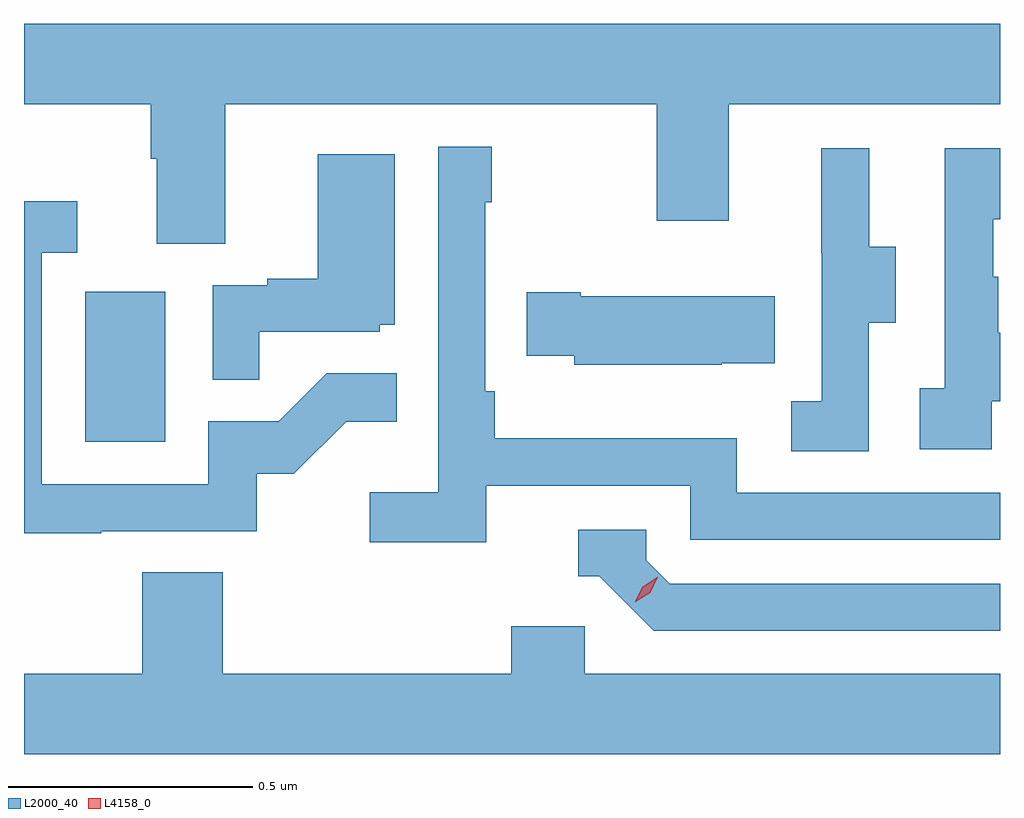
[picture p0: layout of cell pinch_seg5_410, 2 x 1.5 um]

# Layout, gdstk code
import gdstk
lib = gdstk.Library(unit=1e-6, precision=1e-09)
def R(c, l, rs):  # rectangles x0, y0, x1, y1
    for r in rs: c.add(gdstk.rectangle(r[:2], r[2:], *l))
def P(c, l, *ps):  # polygons
    for p in ps: c.add(gdstk.Polygon(p, *l))
L2000_40 = (2000, 40)
L4158_0 = (4158, 0)

pinch_seg5_410 = lib.new_cell('pinch_seg5_410')
R(pinch_seg5_410, L2000_40, [(964.076,866.724,964.24,867.031)])
P(pinch_seg5_410, L2000_40, [(964.363,867.416),(965.248,867.416),(965.248,867.177),(965.395,867.177),(965.395,867.416),(965.951,867.416),(965.951,867.58),(963.951,867.58),(963.951,867.416),(964.211,867.416),(964.211,867.304),(964.223,867.304),(964.223,867.13),(964.363,867.13)],
  [(964.898,866.634),(965.316,866.634),(965.316,866.523),(965.951,866.523),(965.951,866.619),(965.412,866.619),(965.412,866.731),(964.916,866.731),(964.916,866.827),(964.896,866.827),(964.896,867.215),(964.909,867.215),(964.909,867.328),(964.8,867.328),(964.8,866.62),(964.659,866.62),(964.659,866.518),(964.898,866.518)],
  [(965.682,866.968),(965.737,866.968),(965.737,867.123),(965.683,867.123),(965.683,867.325),(965.585,867.325),(965.585,867.111),(965.586,867.111),(965.586,866.807),(965.523,866.807),(965.523,866.704),(965.682,866.704)],
  [(965.934,866.807),(965.951,866.807),(965.951,866.947),(965.947,866.947),(965.947,867.062),(965.937,867.062),(965.937,867.18),(965.951,867.18),(965.951,867.325),(965.838,867.325),(965.838,866.834),(965.787,866.834),(965.787,866.709),(965.934,866.709)],
  [(964.433,866.949),(964.68,866.949),(964.68,866.964),(964.711,866.964),(964.711,867.313),(964.553,867.313),(964.553,867.058),(964.449,867.058),(964.449,867.045),(964.338,867.045),(964.338,866.851),(964.433,866.851)],
  [(964.109,866.541),(964.428,866.541),(964.428,866.658),(964.504,866.658),(964.611,866.765),(964.715,866.765),(964.715,866.864),(964.571,866.864),(964.473,866.766),(964.329,866.766),(964.329,866.637),(963.987,866.637),(963.987,867.111),(964.06,867.111),(964.06,867.217),(963.951,867.217),(963.951,866.536),(964.109,866.536)],
  [(965.381,866.885),(965.489,866.885),(965.489,867.022),(965.092,867.022),(965.092,867.03),(964.981,867.03),(964.981,866.9),(965.079,866.9),(965.079,866.882),(965.381,866.882)],
  [(965.951,866.433),(965.274,866.433),(965.226,866.481),(965.226,866.544),(965.087,866.544),(965.087,866.448),(965.13,866.448),(965.241,866.337),(965.951,866.337)],
  [(965.951,866.248),(965.1,866.248),(965.1,866.346),(964.949,866.346),(964.949,866.248),(964.358,866.248),(964.358,866.456),(964.193,866.456),(964.193,866.248),(963.951,866.248),(963.951,866.084),(965.951,866.084)])
P(pinch_seg5_410, L4158_0, [(965.203,866.395),(965.203,866.395),(965.219,866.427),(965.25,866.447),(965.25,866.447),(965.25,866.447),(965.234,866.414),(965.203,866.395)])

lib.write_gds('pinch_seg5_410.gds')
